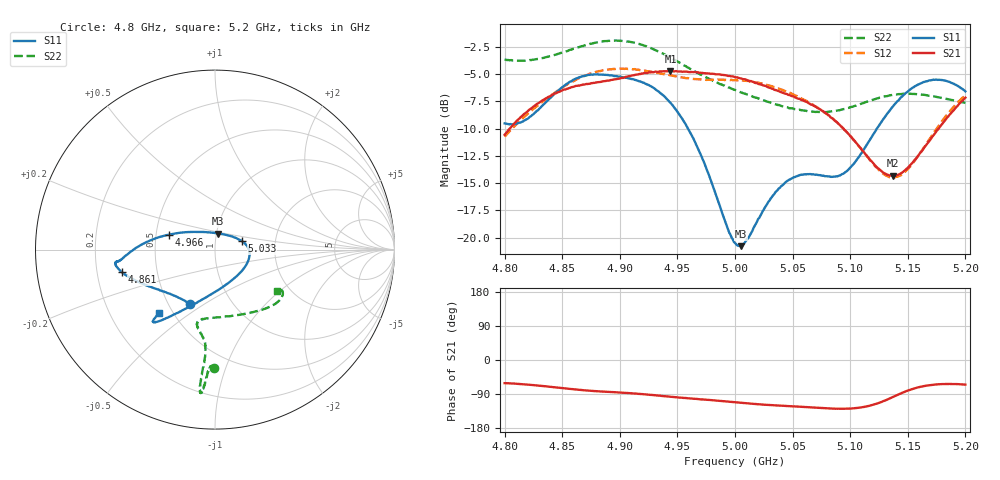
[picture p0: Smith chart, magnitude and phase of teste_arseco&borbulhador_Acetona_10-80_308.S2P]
! Network Analyzer HP8722D
! Hewlett-Packard
! Data name: Linha & Wilkinson
! Saver's name: Rodrigo Anjos
! Comments: Teste da utilização de aquisição
! continua pelo VNA HP8722D
! Time and date: 17/4/2025 16:55
!  Frequency  S11  S21  S12  S22
# HZ  S  MA R 50
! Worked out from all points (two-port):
!   401 points, 4.8 GHz to 5.2 GHz, reference 50 ohm
!   highest |S21| = -4.71 dB at 4.944 GHz (marker M1); lowest = -14.3 dB at 5.137 GHz (marker M2)
!   |S21| within 3 dB of the highest: 4.828 GHz to 5.065 GHz (236.3 MHz wide, 4.78 % of centre); 5.194688 GHz to end of sweep
!   lowest |S11| = -20.8 dB at 5.005 GHz (marker M3), VSWR 1.20, Z = 51 + j9.22 ohm
!   |S11| at or under -10 dB: 4.959 GHz to 5.123 GHz (163.8 MHz wide, 3.25 % of centre)
!   |S22| runs from -8.5 to -1.9 dB; largest |S21 - S12| = 0.87
!   S11 on the Smith chart (normalised r, x): 4.8 GHz: 0.64, -0.44; 4.861 GHz: 0.31, -0.11; 4.966 GHz: 0.59, +0.11; 5.033 GHz: 1.34, +0.13; 5.2 GHz: 0.42, -0.38
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4.8e9  0.3344 -114.4  0.2965 -61.1  0.291 -175.3  0.6569 -90.4
4.819e9  0.3494 -134.4  0.3761 -64.7  0.3654 -174.2  0.6517 -92.0
4.861e9  0.5341 -166.3  0.4954 -77.6  0.5267 -177.5  0.7375 -94.3
4.867e9  0.5492 -168.7  0.5018 -79.3  0.5454 -178.5  0.7565 -94.4
4.899e9  0.5484 -173.1  0.5359 -85.8  0.5954 174.9  0.8018 -95.8
4.934e9  0.4672 -178.9  0.578 -94.2  0.5689 171.4  0.7132 -96.2
4.944e9  0.4157 176.5  0.5815 -96.9  0.5557 171.3  0.6706 -95.9
4.966e9  0.2694 162.0  0.5746 -102.5  0.5338 173.2  0.5758 -95.3
4.994e9  0.1091 117.0  0.5521 -109.8  0.5284 175.5  0.4892 -98.1
5e9  0.09456 97.1  0.5454 -111.7  0.5294 175.6  0.4763 -99.2
5.005e9  0.0914 78.5  0.5381 -113.0  0.5258 175.7  0.4642 -100.5
5.033e9  0.1564 18.0  0.4822 -119.4  0.4922 174.3  0.413 -103.4
5.049e9  0.1866 1.9  0.4468 -122.1  0.4585 173.9  0.3926 -99.4
5.067e9  0.1952 -17.4  0.4073 -125.2  0.4096 173.2  0.3789 -90.1
5.096e9  0.2002 -67.9  0.3089 -128.5  0.3092 174.6  0.3909 -67.4
5.123e9  0.3154 -109.3  0.2105 -115.1  0.2094 -169.8  0.4351 -48.6
5.134e9  0.3813 -118.0  0.1928 -102.0  0.1895 -154.9  0.4489 -43.1
5.137e9  0.3992 -119.7  0.1922 -97.7  0.189 -150.1  0.4523 -41.8
5.15e9  0.4689 -125.5  0.2092 -80.8  0.206 -130.5  0.4575 -36.9
5.17e9  0.5276 -129.9  0.2836 -66.0  0.2892 -112.2  0.4473 -32.3
5.184e9  0.5224 -131.1  0.3555 -63.3  0.3665 -107.6  0.433 -31.4
5.2e9  0.4691 -131.3  0.4388 -65.0  0.4503 -107.1  0.4156 -33.8
